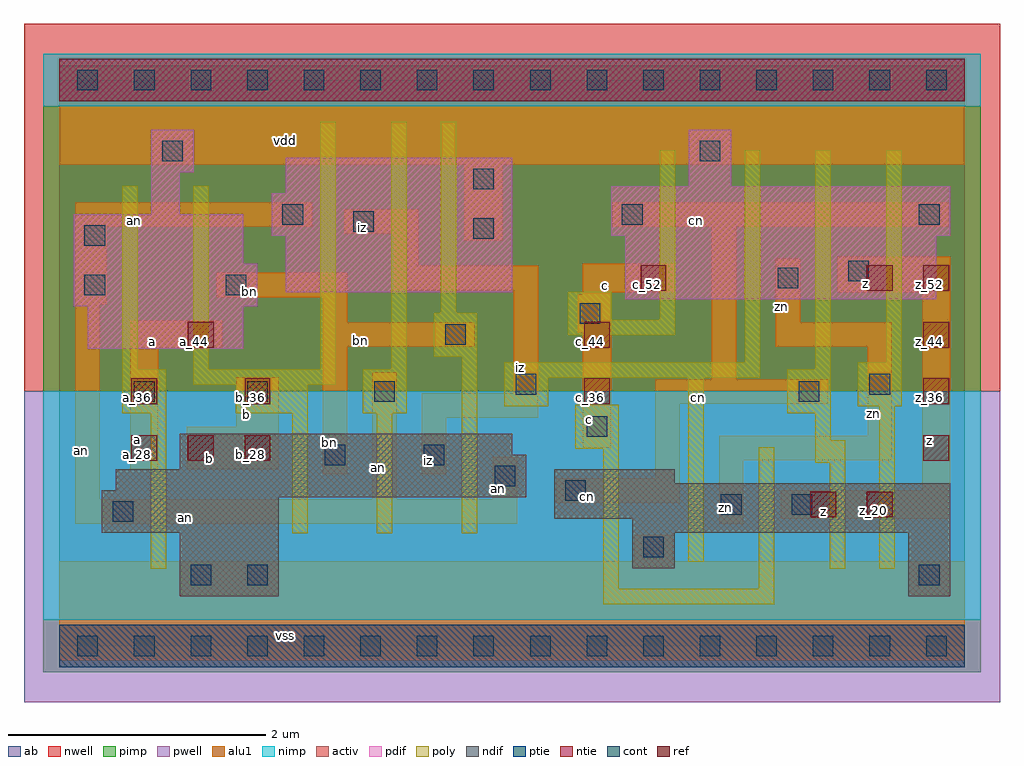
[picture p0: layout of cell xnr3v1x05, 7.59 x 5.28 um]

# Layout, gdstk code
import gdstk
lib = gdstk.Library(unit=1e-6, precision=2.5e-09)
def R(c, l, rs):  # rectangles x0, y0, x1, y1
    for r in rs: c.add(gdstk.rectangle(r[:2], r[2:], *l))
def A(c, l, x, y, w, h, nx, ny, dx, dy):  # array of equal rectangles
    R(c, l, [(x+i*dx, y+j*dy, x+i*dx+w, y+j*dy+h) for i in range(nx) for j in range(ny)])
ndif = (3, 0)
pdif = (4, 0)
ntie = (5, 0)
ptie = (6, 0)
ref = (24, 0)
cont = (25, 0)
pwell = (41, 0)
nwell = (42, 0)
activ = (43, 0)
pimp = (44, 0)
nimp = (45, 0)
poly = (46, 0)
alu1 = (49, 0)
ab = (63, 0)

xnr3v1x05 = lib.new_cell('xnr3v1x05')
R(xnr3v1x05, ndif, [(0.935,0.385,1.705,0.88), (6.6,0.385,6.93,0.88), (4.455,0.605,4.785,0.88), (0.33,0.88,1.705,1.155), (4.455,0.88,6.93,0.99), (3.85,0.99,6.93,1.265), (0.33,1.155,3.63,1.21), (0.44,1.21,3.63,1.375), (3.85,1.265,4.785,1.375), (0.935,1.375,3.63,1.485), (0.935,1.485,3.52,1.65)])
R(xnr3v1x05, pdif, [(0.22,2.31,1.43,2.64), (0.11,2.64,1.54,2.97), (4.4,2.695,6.82,3.19), (1.76,2.75,3.52,3.19), (0.11,2.97,1.43,3.355), (1.65,3.19,3.52,3.52), (4.29,3.19,6.93,3.575), (0.715,3.355,0.935,3.685), (1.76,3.52,3.52,3.795), (4.895,3.575,5.225,4.015), (0.715,3.685,1.045,4.015)])
R(xnr3v1x05, ntie, [(0,4.235,7.04,4.565)])
R(xnr3v1x05, ptie, [(0,-0.165,7.04,0.165)])
A(xnr3v1x05, ref, 0.56, 1.44, 0.2, 0.2, 3, 1, 0.44, 0)
A(xnr3v1x05, ref, 1.44, 1.88, 0.2, 0.2, 3, 1, 2.64, 0)
R(xnr3v1x05, ref, [(5.84,1,6.04,1.2), (6.28,1,6.48,1.2), (6.72,1.44,6.92,1.64), (0.56,1.88,0.76,2.08), (1,2.32,1.2,2.52), (4.08,2.32,4.28,2.52), (6.72,2.32,6.92,2.52), (4.52,2.76,4.72,2.96), (6.28,2.76,6.48,2.96), (6.72,2.76,6.92,2.96)])
A(xnr3v1x05, cont, 0.14, -0.08, 0.16, 0.16, 16, 2, 0.44, 4.4)
R(xnr3v1x05, cont, [(1.02,0.47,1.18,0.63), (1.46,0.47,1.62,0.63), (6.685,0.47,6.845,0.63), (4.54,0.69,4.7,0.85), (0.415,0.965,0.575,1.125), (5.145,1.02,5.305,1.18), (5.695,1.02,5.855,1.18), (3.935,1.13,4.095,1.29), (3.385,1.24,3.545,1.4), (2.065,1.405,2.225,1.565), (2.835,1.405,2.995,1.565), (4.1,1.625,4.26,1.785), (0.58,1.9,0.74,2.06), (1.46,1.9,1.62,2.06), (2.45,1.9,2.61,2.06), (5.75,1.9,5.91,2.06), (3.55,1.955,3.71,2.115), (6.3,1.955,6.46,2.115), (3,2.34,3.16,2.5), (4.045,2.505,4.205,2.665), (0.195,2.725,0.355,2.885), (1.295,2.725,1.455,2.885), (5.585,2.78,5.745,2.94), (6.135,2.835,6.295,2.995), (0.195,3.11,0.355,3.27), (3.22,3.165,3.38,3.325), (2.285,3.22,2.445,3.38), (1.735,3.275,1.895,3.435), (4.375,3.275,4.535,3.435), (6.685,3.275,6.845,3.435), (3.22,3.55,3.38,3.71), (0.8,3.77,0.96,3.93), (4.98,3.77,5.14,3.93)])
R(xnr3v1x05, pwell, [(-0.275,-0.44,7.315,1.98)])
R(xnr3v1x05, nwell, [(-0.275,1.98,7.315,4.84)])
R(xnr3v1x05, activ, [(0,-0.165,7.04,0.165), (0.935,0.385,1.705,0.88), (6.6,0.385,6.93,0.88), (4.455,0.605,4.785,0.88), (0.33,0.88,1.705,1.155), (4.455,0.88,6.93,0.99), (3.85,0.99,6.93,1.265), (0.33,1.155,3.63,1.21), (0.44,1.21,3.63,1.375), (3.85,1.265,4.785,1.375), (0.935,1.375,3.63,1.485), (0.935,1.485,3.52,1.65), (0.22,2.31,1.43,2.64), (0.11,2.64,1.54,2.97), (4.4,2.695,6.82,3.19), (1.76,2.75,3.52,3.19), (0.11,2.97,1.43,3.355), (1.65,3.19,3.52,3.52), (4.29,3.19,6.93,3.575), (0.715,3.355,0.935,3.685), (1.76,3.52,3.52,3.795), (4.895,3.575,5.225,4.015), (0.715,3.685,1.045,4.015), (0,4.235,7.04,4.565)])
R(xnr3v1x05, pimp, [(-0.125,-0.205,7.165,0.205), (-0.125,1.98,7.165,4.195)])
R(xnr3v1x05, nimp, [(-0.125,0.205,7.165,1.98), (-0.125,4.195,7.165,4.605)])
R(xnr3v1x05, poly, [(4.23,0.325,5.56,0.445), (4.23,0.445,4.35,1.535), (5.44,0.445,5.56,1.545), (0.71,0.6,0.83,1.81), (5.99,0.6,6.11,1.425), (6.375,0.6,6.495,1.865), (4.89,0.655,5.01,2.085), (1.81,0.875,1.93,1.81), (2.47,0.875,2.59,1.81), (3.13,0.875,3.25,2.25), (5.88,1.425,6.11,1.6), (4.01,1.535,4.35,1.875), (5.88,1.6,6,1.81), (0.49,1.81,0.83,2.15), (1.37,1.81,1.93,2.03), (2.36,1.81,2.7,2.15), (5.66,1.81,6,2.15), (3.46,1.865,3.8,2.085), (6.21,1.865,6.55,2.205), (1.04,2.03,2.15,2.15), (3.46,2.085,5.45,2.205), (0.49,2.15,0.61,3.58), (1.04,2.15,1.16,3.58), (2.03,2.15,2.15,4.075), (2.58,2.15,2.7,4.075), (5.88,2.15,6,3.855), (5.33,2.205,5.45,3.855), (6.43,2.205,6.55,3.855), (2.91,2.25,3.25,2.59), (3.955,2.415,4.79,2.535), (3.955,2.535,4.295,2.755), (4.67,2.535,4.79,3.855), (2.965,2.59,3.085,4.075)])
R(xnr3v1x05, alu1, [(0,-0.11,7.04,0.66), (4.47,0.66,4.77,0.865), (0.125,0.95,3.56,1.14), (5.13,0.95,5.32,1.445), (5.61,0.99,6.93,1.21), (3.865,1.115,4.825,1.305), (0.125,1.14,0.315,2.655), (2.435,1.14,2.625,2.13), (3.37,1.14,3.56,1.47), (6.71,1.21,6.93,2.75), (4.635,1.305,4.825,1.885), (2.05,1.335,2.24,2.325), (2.82,1.335,3.01,1.775), (0.55,1.375,0.77,2.31), (0.99,1.375,1.705,1.705), (5.13,1.445,6.475,1.635), (4.07,1.54,4.29,2.435), (6.285,1.635,6.475,2.325), (1.375,1.705,1.705,2.09), (2.82,1.775,3.725,1.965), (4.635,1.885,5.98,2.075), (3.535,1.965,3.725,2.765), (5.075,2.075,5.265,3.26), (0.55,2.31,1.265,2.53), (2.05,2.325,3.23,2.515), (5.57,2.325,6.475,2.515), (4.03,2.435,4.29,2.735), (2.05,2.515,2.24,2.71), (5.57,2.515,5.76,3.01), (0.125,2.655,0.37,3.26), (1.225,2.71,2.24,2.9), (4.07,2.735,4.29,2.75), (4.07,2.75,4.785,2.97), (6.05,2.75,6.93,3.025), (2.6,2.765,3.725,2.955), (2.6,2.955,2.79,3.205), (3.15,3.15,3.45,3.74), (2.215,3.205,2.79,3.395), (0.125,3.26,1.965,3.45), (4.305,3.26,6.915,3.45), (0,3.74,7.04,4.51)])
R(xnr3v1x05, ab, [(0,0,7.04,4.4)])
xnr3v1x05.add(gdstk.Label('vss', (1.76,0.0825), layer=49, texttype=0))
xnr3v1x05.add(gdstk.Label('z', (5.94,1.045), layer=49, texttype=0))
xnr3v1x05.add(gdstk.Label('z', (6.765,1.595), layer=49, texttype=0))
xnr3v1x05.add(gdstk.Label('zn', (5.1775,1.0725), layer=49, texttype=0))
xnr3v1x05.add(gdstk.Label('cn', (4.105,1.1625), layer=49, texttype=0))
xnr3v1x05.add(gdstk.Label('an', (0.9825,0.9975), layer=49, texttype=0))
xnr3v1x05.add(gdstk.Label('zn', (6.3325,1.8075), layer=49, texttype=0))
xnr3v1x05.add(gdstk.Label('an', (3.4175,1.2225), layer=49, texttype=0))
xnr3v1x05.add(gdstk.Label('cn', (4.97,1.9325), layer=49, texttype=0))
xnr3v1x05.add(gdstk.Label('z', (6.27,2.8175), layer=49, texttype=0))
xnr3v1x05.add(gdstk.Label('zn', (5.6175,2.6375), layer=49, texttype=0))
xnr3v1x05.add(gdstk.Label('c', (4.125,1.7625), layer=49, texttype=0))
xnr3v1x05.add(gdstk.Label('iz', (2.8675,1.445), layer=49, texttype=0))
xnr3v1x05.add(gdstk.Label('c', (4.2475,2.805), layer=49, texttype=0))
xnr3v1x05.add(gdstk.Label('iz', (3.5825,2.165), layer=49, texttype=0))
xnr3v1x05.add(gdstk.Label('an', (2.4825,1.3875), layer=49, texttype=0))
xnr3v1x05.add(gdstk.Label('bn', (2.0975,1.5825), layer=49, texttype=0))
xnr3v1x05.add(gdstk.Label('b', (1.1675,1.4575), layer=49, texttype=0))
xnr3v1x05.add(gdstk.Label('b', (1.4575,1.8), layer=49, texttype=0))
xnr3v1x05.add(gdstk.Label('a', (0.605,1.6075), layer=49, texttype=0))
xnr3v1x05.add(gdstk.Label('bn', (2.345,2.3725), layer=49, texttype=0))
xnr3v1x05.add(gdstk.Label('a', (0.7275,2.365), layer=49, texttype=0))
xnr3v1x05.add(gdstk.Label('an', (0.1725,1.5175), layer=49, texttype=0))
xnr3v1x05.add(gdstk.Label('bn', (1.4775,2.7575), layer=49, texttype=0))
xnr3v1x05.add(gdstk.Label('cn', (4.9575,3.3075), layer=49, texttype=0))
xnr3v1x05.add(gdstk.Label('iz', (2.3575,3.2525), layer=49, texttype=0))
xnr3v1x05.add(gdstk.Label('an', (0.585,3.3075), layer=49, texttype=0))
xnr3v1x05.add(gdstk.Label('vdd', (1.76,3.9325), layer=49, texttype=0))
xnr3v1x05.add(gdstk.Label('c_52', (4.57,2.81), layer=24, texttype=0))
xnr3v1x05.add(gdstk.Label('c_44', (4.13,2.37), layer=24, texttype=0))
xnr3v1x05.add(gdstk.Label('c_36', (4.13,1.93), layer=24, texttype=0))
xnr3v1x05.add(gdstk.Label('b_36', (1.49,1.93), layer=24, texttype=0))
xnr3v1x05.add(gdstk.Label('b_28', (1.49,1.49), layer=24, texttype=0))
xnr3v1x05.add(gdstk.Label('a_44', (1.05,2.37), layer=24, texttype=0))
xnr3v1x05.add(gdstk.Label('b_28', (1.05,1.49), layer=24, texttype=0))
xnr3v1x05.add(gdstk.Label('z_52', (6.77,2.81), layer=24, texttype=0))
xnr3v1x05.add(gdstk.Label('z_44', (6.77,2.37), layer=24, texttype=0))
xnr3v1x05.add(gdstk.Label('z_36', (6.77,1.93), layer=24, texttype=0))
xnr3v1x05.add(gdstk.Label('z_28', (6.77,1.49), layer=24, texttype=0))
xnr3v1x05.add(gdstk.Label('a_36', (0.61,1.93), layer=24, texttype=0))
xnr3v1x05.add(gdstk.Label('a_28', (0.61,1.49), layer=24, texttype=0))
xnr3v1x05.add(gdstk.Label('z_52', (6.33,2.81), layer=24, texttype=0))
xnr3v1x05.add(gdstk.Label('z_20', (6.33,1.05), layer=24, texttype=0))
xnr3v1x05.add(gdstk.Label('z_20', (5.89,1.05), layer=24, texttype=0))

lib.write_gds('xnr3v1x05.gds')
